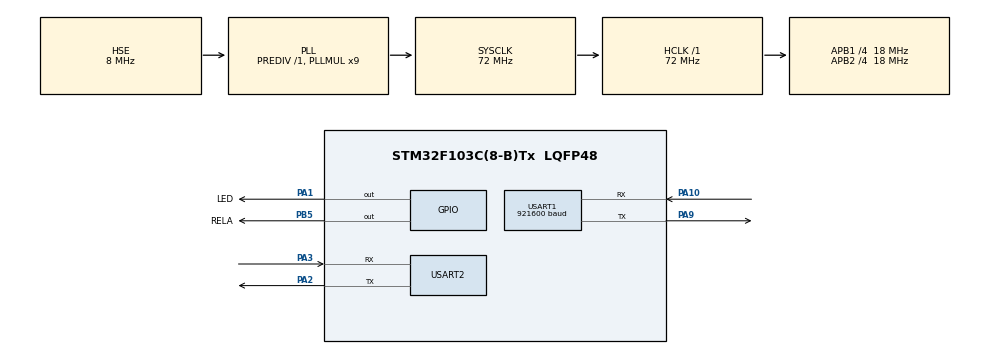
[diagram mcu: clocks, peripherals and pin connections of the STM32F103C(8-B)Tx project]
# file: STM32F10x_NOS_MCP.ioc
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Dma.Request0=USART2_RX
Dma.USART2_RX.0.Direction=DMA_PERIPH_TO_MEMORY
Dma.USART2_RX.0.Instance=DMA1_Channel6
Dma.USART2_RX.0.MemDataAlignment=DMA_MDATAALIGN_BYTE
Dma.USART2_RX.0.MemInc=DMA_MINC_ENABLE
Dma.USART2_RX.0.Mode=DMA_NORMAL
Dma.USART2_RX.0.PeriphDataAlignment=DMA_PDATAALIGN_BYTE
Dma.USART2_RX.0.PeriphInc=DMA_PINC_DISABLE
Dma.USART2_RX.0.Priority=DMA_PRIORITY_LOW
Mcu.Family=STM32F1
Mcu.Name=STM32F103C(8-B)Tx
Mcu.Package=LQFP48
NVIC.DMA1_Channel6_IRQn=true\:0\:0\:false\:false\:true\:false\:true\:true
NVIC.PriorityGroup=NVIC_PRIORITYGROUP_4
NVIC.USART2_IRQn=true\:0\:0\:false\:false\:true\:true\:true\:true
PA1.GPIO_Label=LED
PA1.PinState=GPIO_PIN_SET
PA1.Signal=GPIO_Output
PA10.Mode=Asynchronous
PA10.Signal=USART1_RX
PA13.Mode=Serial_Wire
PA13.Signal=SYS_JTMS-SWDIO
PA14.Mode=Serial_Wire
PA14.Signal=SYS_JTCK-SWCLK
PA2.Mode=Asynchronous
PA2.Signal=USART2_TX
PA3.Mode=Asynchronous
PA3.Signal=USART2_RX
PA9.Mode=Asynchronous
PA9.Signal=USART1_TX
PB5.GPIO_Label=RELA
PB5.GPIO_ModeDefaultOutputPP=GPIO_MODE_OUTPUT_PP
PB5.GPIO_PuPd=GPIO_PULLUP
PB5.PinState=GPIO_PIN_SET
PB5.Signal=GPIO_Output
PD0-OSC_IN.Mode=HSE-External-Oscillator
PD0-OSC_IN.Signal=RCC_OSC_IN
PD1-OSC_OUT.Mode=HSE-External-Oscillator
PD1-OSC_OUT.Signal=RCC_OSC_OUT
ProjectManager.HeapSize=0x200
ProjectManager.StackSize=0x400
ProjectManager.TargetToolchain=CMake
RCC.AHBFreq_Value=72000000
RCC.APB1CLKDivider=RCC_HCLK_DIV4
RCC.APB1Freq_Value=18000000
RCC.APB1TimFreq_Value=36000000
RCC.APB2CLKDivider=RCC_HCLK_DIV4
RCC.APB2Freq_Value=18000000
RCC.APB2TimFreq_Value=36000000
RCC.HCLKFreq_Value=72000000
RCC.PLLMUL=RCC_PLL_MUL9
RCC.PLLSourceVirtual=RCC_PLLSOURCE_HSE
RCC.SYSCLKFreq_VALUE=72000000
RCC.SYSCLKSource=RCC_SYSCLKSOURCE_PLLCLK
RCC.USBFreq_Value=72000000
USART1.BaudRate=921600
USART1.VirtualMode=VM_ASYNC
USART2.VirtualMode=VM_ASYNC
board=custom

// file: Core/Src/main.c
/* USER CODE BEGIN Header */
/**
 ******************************************************************************
 * @file           : main.c
 * @brief          : Main program body
 ******************************************************************************
 * @attention
 *
 * Copyright (c) 2025 STMicroelectronics.
 * All rights reserved.
 *
 * This software is licensed under terms that can be found in the LICENSE file
 * in the root directory of this software component.
 * If no LICENSE file comes with this software, it is provided AS-IS.
 *
 ******************************************************************************
 */
/* USER CODE END Header */
#include "main.h"
#include "dma.h"
#include "gpio.h"
#include "usart.h"

/* USER CODE BEGIN Includes */
#include "cJSON.h"
#include "emMCP.h"
#include "stdio.h"

/* USER CODE END Includes */

/* USER CODE BEGIN PD */
#define UART_RXBUFF_MAX 256
/* USER CODE END PD */

/* USER CODE BEGIN PV */
emMCP_t emMCP;
uint8_t rxBuffer[UART_RXBUFF_MAX] = {0};
/* USER CODE END PV */

void SystemClock_Config(void);
/* USER CODE BEGIN PFP */
void HAL_UARTEx_RxEventCallback(UART_HandleTypeDef *huart, uint16_t Size) {
  if (huart == &huart2) {
    uartPortRecvData((char *)rxBuffer, Size);
    HAL_UARTEx_ReceiveToIdle_DMA(&huart2, rxBuffer, UART_RXBUFF_MAX);
    __HAL_DMA_DISABLE_IT(huart2.hdmarx, DMA_IT_HT);
  }
}

static void emMCP_SetLEDHandler(void *arg) {
  // 接收到的数据
  cJSON *param = (cJSON *)arg;
  // 控制LED灯
  cJSON *enable = cJSON_GetObjectItemCaseSensitive(param, "enable");
  if (enable != NULL) {
    if (enable->valueint == 1) {
      HAL_GPIO_WritePin(RELA_GPIO_Port, RELA_Pin, GPIO_PIN_RESET);
    } else if (enable->valueint == 0) {
      HAL_GPIO_WritePin(RELA_GPIO_Port, RELA_Pin, GPIO_PIN_SET);
    }
    emMCP_ResponseValue(emMCP_CTRL_OK);

  } else {
    emMCP_ResponseValue(emMCP_CTRL_ERROR);
  }
}
static void emMCP_GetLEDHandler(void *arg) {}
/* USER CODE END PFP */

/* Private user code
 * ---------------------------------------------------------*/
/* USER CODE BEGIN 0 */
emMCP_tool_t led;
/* USER CODE END 0 */

int main(void) {

  /* MCU
   * Configuration--------------------------------------------------------*/

  /* Reset of all peripherals, Initializes the Flash interface and the
   * Systick.
   */
  HAL_Init();

  /* Configure the system clock */
  SystemClock_Config();

  /* USER CODE BEGIN SysInit */
  SystemInit();
  /* USER CODE END SysInit */

  /* Initialize all configured peripherals */
  MX_GPIO_Init();
  MX_DMA_Init();
  MX_USART1_UART_Init();
  MX_USART2_UART_Init();
  /* USER CODE BEGIN 2 */
  // 启用串口接收中断
  HAL_UARTEx_ReceiveToIdle_DMA(&huart2, rxBuffer, UART_RXBUFF_MAX);
  __HAL_DMA_DISABLE_IT(huart2.hdmarx, DMA_IT_HT);

  // 初始化MCP
  emMCP_Init(&emMCP);
  led.name = "继电器";
  led.description = "用来控制继电器的开关";
  led.inputSchema.properties[0].name = "enable";
  led.inputSchema.properties[0].description =
      "控制继电器,打开:true,关闭为:false,查询为null";
  led.inputSchema.properties[0].type = MCP_SERVER_TOOL_TYPE_BOOLEAN;
  led.setRequestHandler = emMCP_SetLEDHandler;
  led.checkRequestHandler = emMCP_GetLEDHandler;
  emMCP_AddToolToToolList(&led);
  // 注册工具
  emMCP_RegistrationTools();
  /* USER CODE END 2 */

  /* Infinite loop */
  while (1) {
    emMCP_TickHandle(10);
  }
}

void SystemClock_Config(void) {
  RCC_OscInitTypeDef RCC_OscInitStruct = {0};
  RCC_ClkInitTypeDef RCC_ClkInitStruct = {0};

  /** Initializes the RCC Oscillators according to the specified parameters
   * in the RCC_OscInitTypeDef structure.
   */
  RCC_OscInitStruct.OscillatorType = RCC_OSCILLATORTYPE_HSE;
  RCC_OscInitStruct.HSEState = RCC_HSE_ON;
  RCC_OscInitStruct.HSEPredivValue = RCC_HSE_PREDIV_DIV1;
  RCC_OscInitStruct.HSIState = RCC_HSI_ON;
  RCC_OscInitStruct.PLL.PLLState = RCC_PLL_ON;
  RCC_OscInitStruct.PLL.PLLSource = RCC_PLLSOURCE_HSE;
  RCC_OscInitStruct.PLL.PLLMUL = RCC_PLL_MUL9;
  if (HAL_RCC_OscConfig(&RCC_OscInitStruct) != HAL_OK) {
    Error_Handler();
  }

  /** Initializes the CPU, AHB and APB buses clocks
   */
  RCC_ClkInitStruct.ClockType = RCC_CLOCKTYPE_HCLK | RCC_CLOCKTYPE_SYSCLK |
                                RCC_CLOCKTYPE_PCLK1 | RCC_CLOCKTYPE_PCLK2;
  RCC_ClkInitStruct.SYSCLKSource = RCC_SYSCLKSOURCE_PLLCLK;
  RCC_ClkInitStruct.AHBCLKDivider = RCC_SYSCLK_DIV1;
  RCC_ClkInitStruct.APB1CLKDivider = RCC_HCLK_DIV4;
  RCC_ClkInitStruct.APB2CLKDivider = RCC_HCLK_DIV4;

  if (HAL_RCC_ClockConfig(&RCC_ClkInitStruct, FLASH_LATENCY_2) != HAL_OK) {
    Error_Handler();
  }
}

void Error_Handler(void) {
  /* USER CODE BEGIN Error_Handler_Debug */
  /* User can add his own implementation to report the HAL error return state
   */
  __disable_irq();
  while (1) {
  }
  /* USER CODE END Error_Handler_Debug */
}
#ifdef USE_FULL_ASSERT
/**
 * @brief  Reports the name of the source file and the source line number
 *         where the assert_param error has occurred.
 * @param  file: pointer to the source file name
 * @param  line: assert_param error line source number
 * @retval None
 */
void assert_failed(uint8_t *file, uint32_t line) {
  /* USER CODE BEGIN 6 */
  /* User can add his own implementation to report the file name and line
     number, ex: printf("Wrong parameters value: file %s on line %d\r\n",
     file, line) */
  /* USER CODE END 6 */
}
#endif /* USE_FULL_ASSERT */
